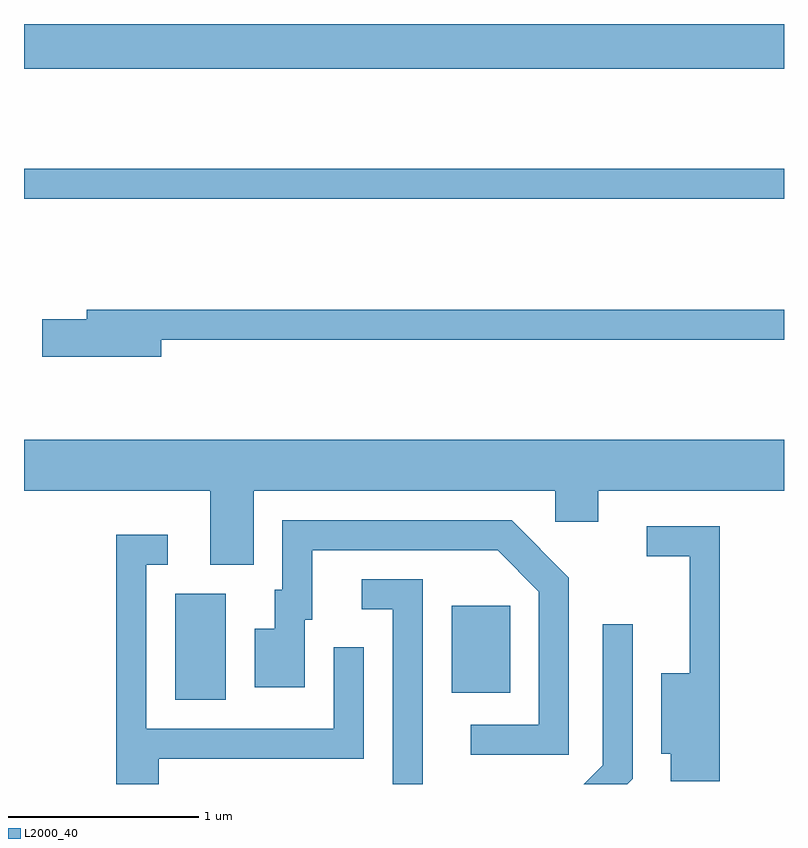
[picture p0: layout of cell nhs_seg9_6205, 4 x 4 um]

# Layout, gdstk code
import gdstk
lib = gdstk.Library(unit=1e-6, precision=1e-09)
def R(c, l, rs):  # rectangles x0, y0, x1, y1
    for r in rs: c.add(gdstk.rectangle(r[:2], r[2:], *l))
def P(c, l, *ps):  # polygons
    for p in ps: c.add(gdstk.Polygon(p, *l))
L2000_40 = (2000, 40)

nhs_seg9_6205 = lib.new_cell('nhs_seg9_6205')
R(nhs_seg9_6205, L2000_40, [(368.406,2052.876,368.674,2053.434), (369.861,2052.911,370.169,2053.369), (367.611,2055.511,371.611,2055.669), (367.611,2056.196,371.611,2056.432)])
P(nhs_seg9_6205, L2000_40, [(368.334,2054.771),(371.611,2054.771),(371.611,2054.929),(367.941,2054.929),(367.941,2054.879),(367.706,2054.879),(367.706,2054.681),(368.334,2054.681)],
  [(368.819,2053.976),(370.406,2053.976),(370.406,2053.811),(370.634,2053.811),(370.634,2053.976),(371.611,2053.976),(371.611,2054.244),(367.611,2054.244),(367.611,2053.976),(368.591,2053.976),(368.591,2053.586),(368.819,2053.586)],
  [(370.479,2053.517),(370.177,2053.819),(368.971,2053.819),(368.971,2053.454),(368.931,2053.454),(368.931,2053.249),(368.826,2053.249),(368.826,2052.941),(369.089,2052.941),(369.089,2053.296),(369.129,2053.296),(369.129,2053.661),(370.104,2053.661),(370.321,2053.443),(370.321,2052.744),(369.963,2052.744),(369.963,2052.586),(370.479,2052.586)],
  [(371.274,2053.789),(370.888,2053.789),(370.888,2053.631),(371.116,2053.631),(371.116,2053.014),(370.966,2053.014),(370.966,2052.591),(371.016,2052.591),(371.016,2052.446),(371.274,2052.446)],
  [(368.319,2052.566),(369.399,2052.566),(369.399,2053.153),(369.241,2053.153),(369.241,2052.724),(368.254,2052.724),(368.254,2053.586),(368.368,2053.586),(368.368,2053.744),(368.096,2053.744),(368.096,2052.432),(368.319,2052.432)],
  [(369.709,2053.509),(369.388,2053.509),(369.388,2053.351),(369.551,2053.351),(369.551,2052.432),(369.709,2052.432)],
  [(370.814,2052.459),(370.814,2053.273),(370.656,2053.273),(370.656,2052.532),(370.557,2052.432),(370.787,2052.432)])

lib.write_gds('nhs_seg9_6205.gds')
